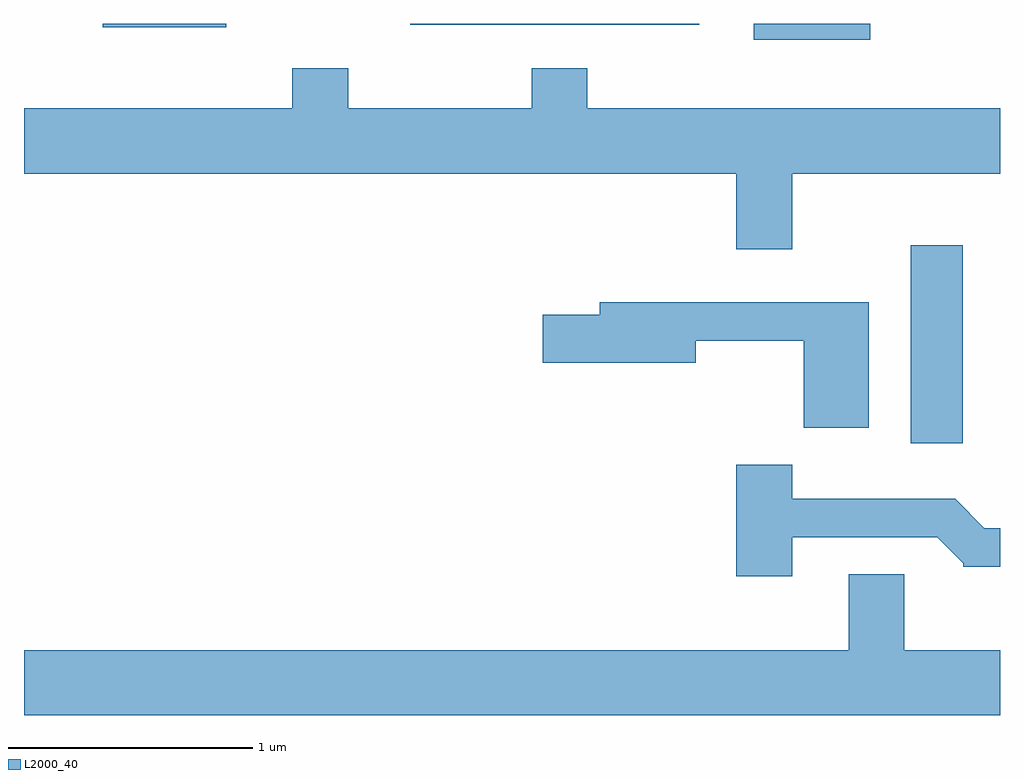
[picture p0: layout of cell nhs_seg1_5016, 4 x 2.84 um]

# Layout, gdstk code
import gdstk
lib = gdstk.Library(unit=1e-6, precision=1e-09)
def R(c, l, rs):  # rectangles x0, y0, x1, y1
    for r in rs: c.add(gdstk.rectangle(r[:2], r[2:], *l))
def P(c, l, *ps):  # polygons
    for p in ps: c.add(gdstk.Polygon(p, *l))
L2000_40 = (2000, 40)

nhs_seg1_5016 = lib.new_cell('nhs_seg1_5016')
R(nhs_seg1_5016, L2000_40, [(339.246,933.991,339.459,934.804), (338.601,935.646,339.079,935.712), (335.933,935.696,336.439,935.712), (337.193,935.706,338.378,935.712)])
P(nhs_seg1_5016, L2000_40, [(338.759,935.096),(339.611,935.096),(339.611,935.364),(337.919,935.364),(337.919,935.529),(337.691,935.529),(337.691,935.364),(336.939,935.364),(336.939,935.529),(336.711,935.529),(336.711,935.364),(335.611,935.364),(335.611,935.096),(338.531,935.096),(338.531,934.786),(338.759,934.786)],
  [(339.074,934.569),(337.971,934.569),(337.971,934.519),(337.736,934.519),(337.736,934.321),(338.364,934.321),(338.364,934.411),(338.806,934.411),(338.806,934.056),(339.074,934.056)],
  [(338.759,933.606),(339.354,933.606),(339.46,933.5),(339.46,933.486),(339.611,933.486),(339.611,933.644),(339.547,933.644),(339.427,933.764),(338.759,933.764),(338.759,933.904),(338.531,933.904),(338.531,933.446),(338.759,933.446)],
  [(339.611,933.144),(339.219,933.144),(339.219,933.454),(338.991,933.454),(338.991,933.144),(335.611,933.144),(335.611,932.876),(339.611,932.876)])

lib.write_gds('nhs_seg1_5016.gds')
